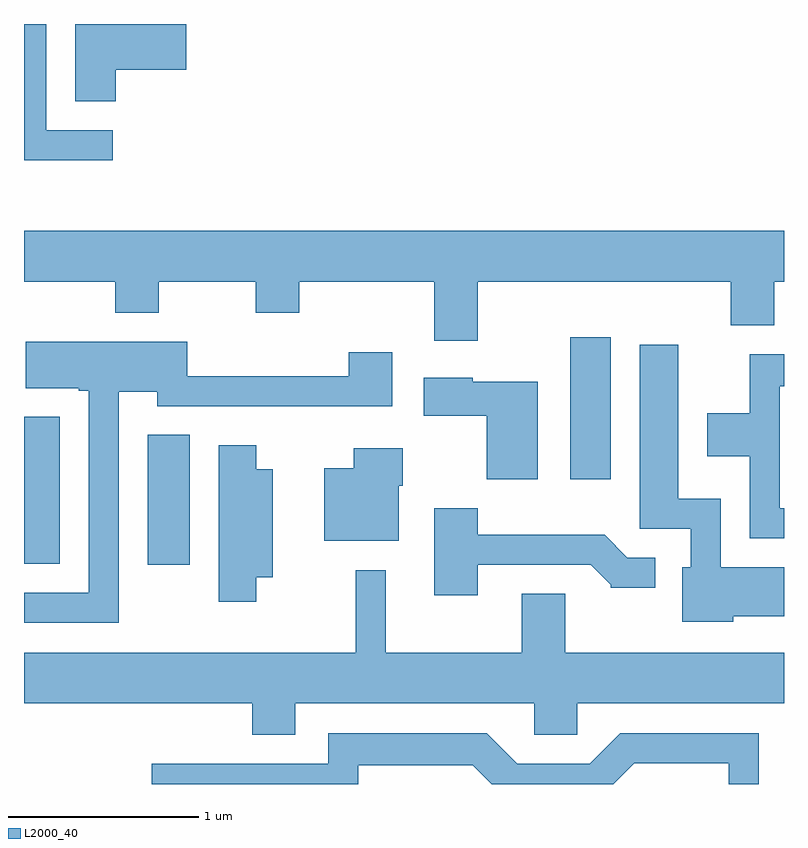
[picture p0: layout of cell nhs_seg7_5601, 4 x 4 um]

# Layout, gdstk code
import gdstk
lib = gdstk.Library(unit=1e-6, precision=1e-09)
def R(c, l, rs):  # rectangles x0, y0, x1, y1
    for r in rs: c.add(gdstk.rectangle(r[:2], r[2:], *l))
def P(c, l, *ps):  # polygons
    for p in ps: c.add(gdstk.Polygon(p, *l))
L2000_40 = (2000, 40)

nhs_seg7_5601 = lib.new_cell('nhs_seg7_5601')
R(nhs_seg7_5601, L2000_40, [(356.261,1799.406,356.484,1800.089), (355.611,1799.411,355.799,1800.184), (358.486,1799.856,358.699,1800.604)])
P(nhs_seg7_5601, L2000_40, [(356.094,1802.011),(356.464,1802.011),(356.464,1802.252),(355.881,1802.252),(355.881,1801.846),(356.094,1801.846)],
  [(356.078,1801.694),(355.729,1801.694),(355.729,1802.252),(355.611,1802.252),(355.611,1801.536),(356.078,1801.536)],
  [(357.999,1800.896),(359.331,1800.896),(359.331,1800.666),(359.559,1800.666),(359.559,1800.896),(359.611,1800.896),(359.611,1801.164),(355.611,1801.164),(355.611,1800.896),(356.091,1800.896),(356.091,1800.731),(356.319,1800.731),(356.319,1800.896),(356.831,1800.896),(356.831,1800.731),(357.059,1800.731),(357.059,1800.896),(357.771,1800.896),(357.771,1800.586),(357.999,1800.586)],
  [(356.109,1800.316),(356.311,1800.316),(356.311,1800.241),(357.549,1800.241),(357.549,1800.524),(357.321,1800.524),(357.321,1800.399),(356.469,1800.399),(356.469,1800.579),(355.621,1800.579),(355.621,1800.336),(355.9,1800.336),(355.9,1800.321),(355.951,1800.321),(355.951,1799.259),(355.611,1799.259),(355.611,1799.101),(356.109,1799.101)],
  [(359.344,1799.136),(359.611,1799.136),(359.611,1799.394),(359.279,1799.394),(359.279,1799.754),(359.054,1799.754),(359.054,1800.564),(358.851,1800.564),(358.851,1799.596),(359.121,1799.596),(359.121,1799.394),(359.076,1799.394),(359.076,1799.106),(359.344,1799.106)],
  [(359.611,1799.704),(359.589,1799.704),(359.589,1800.346),(359.611,1800.346),(359.611,1800.514),(359.431,1800.514),(359.431,1800.204),(359.206,1800.204),(359.206,1799.976),(359.431,1799.976),(359.431,1799.546),(359.611,1799.546)],
  [(358.314,1800.369),(357.974,1800.369),(357.974,1800.389),(357.716,1800.389),(357.716,1800.191),(358.046,1800.191),(358.046,1799.856),(358.314,1799.856)],
  [(356.834,1799.341),(356.919,1799.341),(356.919,1799.909),(356.834,1799.909),(356.834,1800.034),(356.636,1800.034),(356.636,1799.211),(356.834,1799.211)],
  [(357.584,1799.821),(357.604,1799.821),(357.604,1800.019),(357.346,1800.019),(357.346,1799.914),(357.191,1799.914),(357.191,1799.531),(357.584,1799.531)],
  [(357.999,1799.406),(358.594,1799.406),(358.7,1799.3),(358.7,1799.286),(358.933,1799.286),(358.933,1799.444),(358.787,1799.444),(358.667,1799.564),(357.999,1799.564),(357.999,1799.704),(357.771,1799.704),(357.771,1799.246),(357.999,1799.246)],
  [(358.459,1799.254),(358.231,1799.254),(358.231,1798.944),(357.514,1798.944),(357.514,1799.378),(357.356,1799.378),(357.356,1798.944),(355.611,1798.944),(355.611,1798.676),(356.811,1798.676),(356.811,1798.511),(357.039,1798.511),(357.039,1798.676),(358.296,1798.676),(358.296,1798.511),(358.524,1798.511),(358.524,1798.676),(359.611,1798.676),(359.611,1798.944),(358.459,1798.944)],
  [(357.369,1798.351),(357.974,1798.351),(358.073,1798.252),(358.713,1798.252),(358.822,1798.361),(359.321,1798.361),(359.321,1798.252),(359.479,1798.252),(359.479,1798.519),(358.749,1798.519),(358.589,1798.359),(358.207,1798.359),(358.047,1798.519),(357.211,1798.519),(357.211,1798.359),(356.283,1798.359),(356.283,1798.252),(357.369,1798.252)])

lib.write_gds('nhs_seg7_5601.gds')
